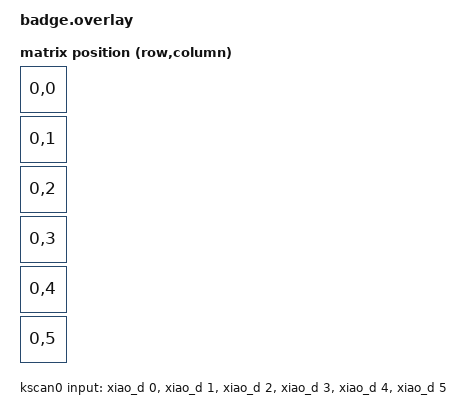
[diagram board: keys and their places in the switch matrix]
#include <dt-bindings/zmk/matrix_transform.h> // Put this with the other includes at the top of your overlay
#include "badge-layouts.dtsi"

/ {
    kscan0: kscan0 {
        compatible = "zmk,kscan-gpio-direct";
        wakeup-source;

        input-gpios
            = <&xiao_d 0 (GPIO_ACTIVE_LOW | GPIO_PULL_UP)>
            , <&xiao_d 1 (GPIO_ACTIVE_LOW | GPIO_PULL_UP)>
            , <&xiao_d 2 (GPIO_ACTIVE_LOW | GPIO_PULL_UP)>
            , <&xiao_d 3 (GPIO_ACTIVE_LOW | GPIO_PULL_UP)>
            , <&xiao_d 4 (GPIO_ACTIVE_LOW | GPIO_PULL_UP)>
            , <&xiao_d 5 (GPIO_ACTIVE_LOW | GPIO_PULL_UP)>
            ;

    };
};

&xiao_serial { status = "disabled"; };

/ {
    default_transform: keymap_transform0 {
        compatible = "zmk,matrix-transform";
        columns = <11>; // Length of the "col-gpios" array
        rows = <1>; // Length of the "row-gpios" array
        map = <
        
        RC(0,0) // Left
        RC(0,1) // Right
        RC(0,2) // Up
        RC(0,3) // Down
        RC(0,4) // A
        RC(0,5) // B
        
        >;
    };
};

/ {
    chosen {
        zmk,physical-layout = &physical_layout0;
        // zmk,matrix-transform = &default_transform;
        // Other chosen items
    };
};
